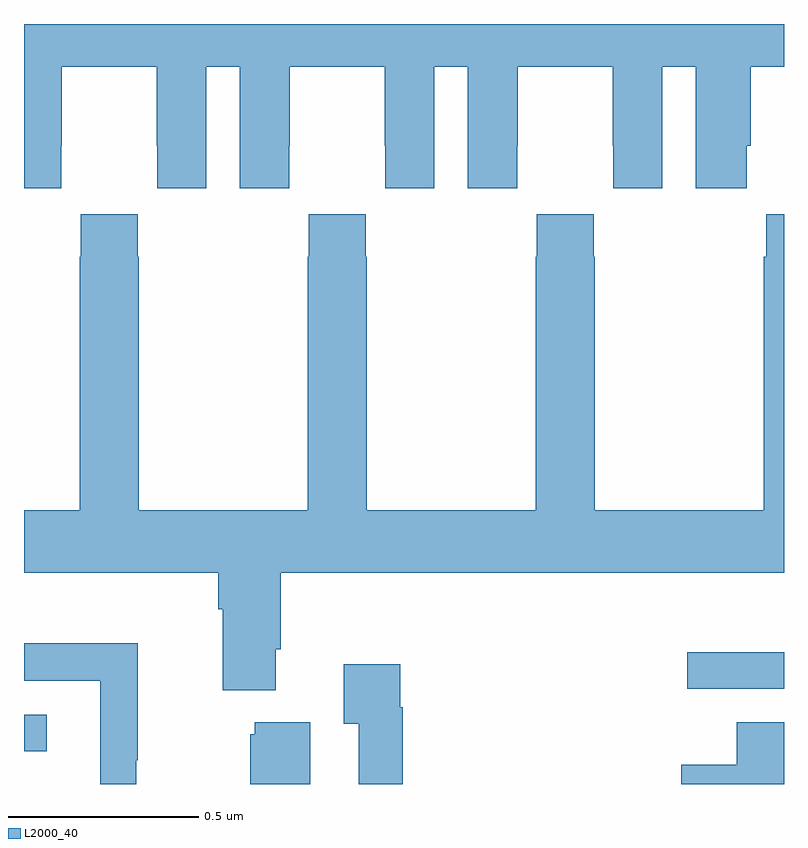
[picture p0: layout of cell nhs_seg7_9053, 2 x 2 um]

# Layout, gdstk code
import gdstk
lib = gdstk.Library(unit=1e-6, precision=1e-09)
def R(c, l, rs):  # rectangles x0, y0, x1, y1
    for r in rs: c.add(gdstk.rectangle(r[:2], r[2:], *l))
def P(c, l, *ps):  # polygons
    for p in ps: c.add(gdstk.Polygon(p, *l))
L2000_40 = (2000, 40)

nhs_seg7_9053 = lib.new_cell('nhs_seg7_9053')
R(nhs_seg7_9053, L2000_40, [(232,1060.086,232.06,1060.182), (233.745,1060.251,234,1060.347)])
P(nhs_seg7_9053, L2000_40, [(232.098,1061.68),(232.099,1061.68),(232.099,1061.888),(232.349,1061.888),(232.349,1061.68),(232.35,1061.68),(232.35,1061.568),(232.48,1061.568),(232.48,1061.888),(232.568,1061.888),(232.568,1061.568),(232.698,1061.568),(232.698,1061.68),(232.699,1061.68),(232.699,1061.888),(232.949,1061.888),(232.949,1061.68),(232.95,1061.68),(232.95,1061.568),(233.08,1061.568),(233.08,1061.888),(233.168,1061.888),(233.168,1061.568),(233.298,1061.568),(233.298,1061.68),(233.299,1061.68),(233.299,1061.888),(233.549,1061.888),(233.549,1061.68),(233.55,1061.68),(233.55,1061.568),(233.68,1061.568),(233.68,1061.888),(233.768,1061.888),(233.768,1061.568),(233.902,1061.568),(233.902,1061.68),(233.912,1061.68),(233.912,1061.888),(234,1061.888),(234,1062),(232,1062),(232,1061.568),(232.098,1061.568)],
  [(232.663,1060.354),(232.676,1060.354),(232.676,1060.556),(234,1060.556),(234,1061.5),(233.953,1061.5),(233.953,1061.387),(233.947,1061.387),(233.947,1060.72),(233.502,1060.72),(233.502,1061.387),(233.499,1061.387),(233.499,1061.5),(233.349,1061.5),(233.349,1061.387),(233.347,1061.387),(233.347,1060.72),(232.902,1060.72),(232.902,1061.387),(232.899,1061.387),(232.899,1061.5),(232.749,1061.5),(232.749,1061.387),(232.747,1061.387),(232.747,1060.72),(232.302,1060.72),(232.302,1061.387),(232.299,1061.387),(232.299,1061.5),(232.149,1061.5),(232.149,1061.387),(232.147,1061.387),(232.147,1060.72),(232,1060.72),(232,1060.556),(232.511,1060.556),(232.511,1060.46),(232.523,1060.46),(232.523,1060.247),(232.663,1060.247)],
  [(232.296,1060.063),(232.299,1060.063),(232.299,1060.37),(232,1060.37),(232,1060.272),(232.2,1060.272),(232.2,1060),(232.296,1060)],
  [(232.997,1060.202),(232.99,1060.202),(232.99,1060.315),(232.841,1060.315),(232.841,1060.159),(232.881,1060.159),(232.881,1060),(232.997,1060)],
  [(232.753,1060.162),(232.607,1060.162),(232.607,1060.131),(232.595,1060.131),(232.595,1060),(232.753,1060)],
  [(234,1060.162),(233.876,1060.162),(233.876,1060.051),(233.73,1060.051),(233.73,1060),(234,1060)])

lib.write_gds('nhs_seg7_9053.gds')
